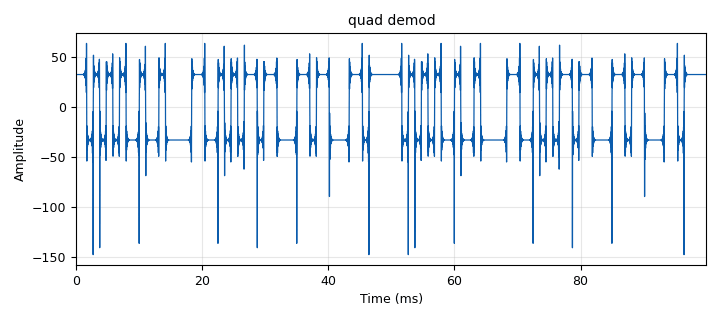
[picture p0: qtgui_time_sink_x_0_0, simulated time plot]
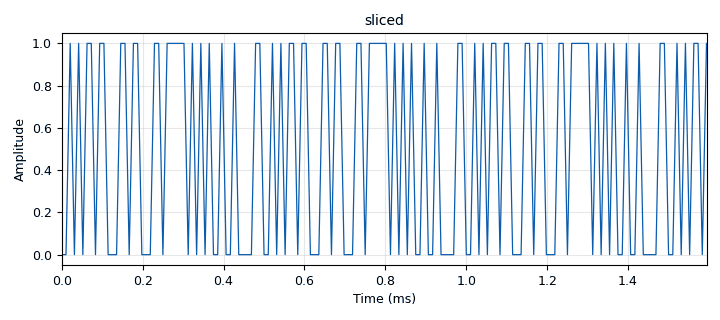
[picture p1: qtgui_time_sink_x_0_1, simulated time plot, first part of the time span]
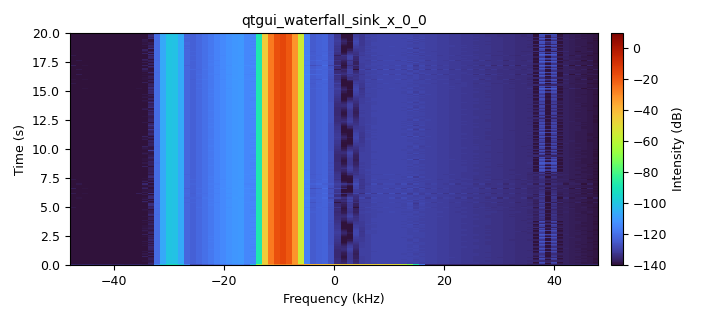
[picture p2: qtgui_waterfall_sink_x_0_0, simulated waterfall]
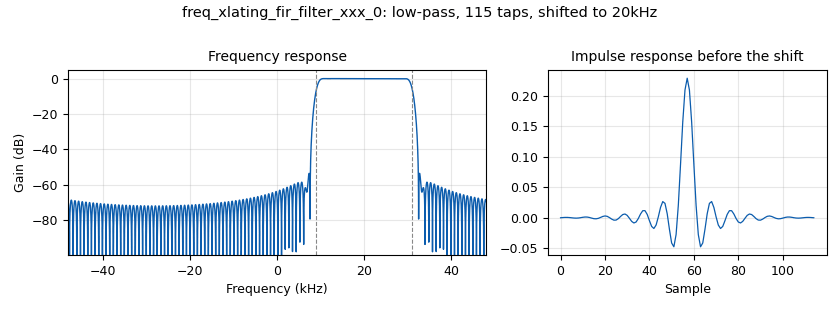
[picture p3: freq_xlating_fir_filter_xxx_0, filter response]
<?xml version='1.0' encoding='utf-8'?>
<?grc format='1' created='3.7.9'?>
<flow_graph>
<block>
<key>options</key>
<param><key>id</key><value>top_block</value></param>
<param><key>generate_options</key><value>qt_gui</value></param>
</block>
<block>
<key>variable_function_probe</key>
<param><key>id</key><value>doppler</value></param>
<param><key>block_id</key><value>probe_triangle</value></param>
<param><key>function_name</key><value>level</value></param>
<param><key>poll_rate</key><value>samp_rate</value></param>
<param><key>value</key><value>0</value></param>
</block>
<block>
<key>variable</key>
<param><key>id</key><value>freq</value></param>
<param><key>value</key><value>915e6</value></param>
</block>
<block>
<key>variable</key>
<param><key>id</key><value>samp_per_sym</value></param>
<param><key>value</key><value>100</value></param>
</block>
<block>
<key>variable</key>
<param><key>id</key><value>samp_rate</value></param>
<param><key>value</key><value>96e3</value></param>
</block>
<block>
<key>variable</key>
<param><key>id</key><value>samp_rate_tx</value></param>
<param><key>value</key><value>2e6</value></param>
</block>
<block>
<key>analog_const_source_x</key>
<param><key>id</key><value>analog_const_source_x_0</value></param>
<param><key>const</key><value>1</value></param>
<param><key>type</key><value>float</value></param>
</block>
<block>
<key>analog_const_source_x</key>
<param><key>id</key><value>analog_const_source_x_1</value></param>
<param><key>const</key><value>1</value></param>
<param><key>_enabled</key><value>0</value></param>
<param><key>type</key><value>complex</value></param>
</block>
<block>
<key>analog_quadrature_demod_cf</key>
<param><key>id</key><value>analog_quadrature_demod_cf_0</value></param>
<param><key>gain</key><value>-50</value></param>
</block>
<block>
<key>analog_sig_source_x</key>
<param><key>id</key><value>analog_sig_source_x_0</value></param>
<param><key>amp</key><value>1</value></param>
<param><key>freq</key><value>10e3</value></param>
<param><key>offset</key><value>0</value></param>
<param><key>type</key><value>float</value></param>
<param><key>samp_rate</key><value>samp_rate</value></param>
<param><key>waveform</key><value>analog.GR_COS_WAVE</value></param>
</block>
<block>
<key>analog_sig_source_x</key>
<param><key>id</key><value>analog_sig_source_x_0_0</value></param>
<param><key>amp</key><value>2</value></param>
<param><key>freq</key><value>0.016</value></param>
<param><key>offset</key><value>-1</value></param>
<param><key>type</key><value>float</value></param>
<param><key>samp_rate</key><value>samp_rate</value></param>
<param><key>waveform</key><value>analog.GR_TRI_WAVE</value></param>
</block>
<block>
<key>analog_sig_source_x</key>
<param><key>id</key><value>analog_sig_source_x_1</value></param>
<param><key>amp</key><value>1</value></param>
<param><key>freq</key><value>30e3</value></param>
<param><key>offset</key><value>0</value></param>
<param><key>type</key><value>float</value></param>
<param><key>samp_rate</key><value>samp_rate</value></param>
<param><key>waveform</key><value>analog.GR_COS_WAVE</value></param>
</block>
<block>
<key>analog_sig_source_x</key>
<param><key>id</key><value>analog_sig_source_x_1_0</value></param>
<param><key>amp</key><value>1</value></param>
<param><key>_enabled</key><value>0</value></param>
<param><key>freq</key><value>10000*doppler</value></param>
<param><key>offset</key><value>0</value></param>
<param><key>type</key><value>complex</value></param>
<param><key>samp_rate</key><value>samp_rate</value></param>
<param><key>waveform</key><value>analog.GR_COS_WAVE</value></param>
</block>
<block>
<key>blocks_add_xx</key>
<param><key>id</key><value>blocks_add_xx_0</value></param>
<param><key>type</key><value>float</value></param>
</block>
<block>
<key>blocks_char_to_float</key>
<param><key>id</key><value>blocks_char_to_float_0</value></param>
<param><key>scale</key><value>1</value></param>
</block>
<block>
<key>blocks_char_to_float</key>
<param><key>id</key><value>blocks_char_to_float_1</value></param>
<param><key>scale</key><value>1</value></param>
</block>
<block>
<key>blocks_file_sink</key>
<param><key>id</key><value>blocks_file_sink_0</value></param>
<param><key>file</key><value>/home/sdrgroup/src/gr-transceive/transmit_test.bin</value></param>
<param><key>type</key><value>byte</value></param>
</block>
<block>
<key>blocks_multiply_const_vxx</key>
<param><key>id</key><value>blocks_multiply_const_vxx_0</value></param>
<param><key>const</key><value>0.8</value></param>
<param><key>_enabled</key><value>0</value></param>
<param><key>type</key><value>complex</value></param>
</block>
<block>
<key>blocks_multiply_xx</key>
<param><key>id</key><value>blocks_multiply_xx_0</value></param>
<param><key>type</key><value>float</value></param>
</block>
<block>
<key>blocks_multiply_xx</key>
<param><key>id</key><value>blocks_multiply_xx_0_0</value></param>
<param><key>type</key><value>float</value></param>
</block>
<block>
<key>blocks_multiply_xx</key>
<param><key>id</key><value>blocks_multiply_xx_0_1</value></param>
<param><key>_enabled</key><value>0</value></param>
<param><key>type</key><value>complex</value></param>
</block>
<block>
<key>blocks_pack_k_bits_bb</key>
<param><key>id</key><value>blocks_pack_k_bits_bb_0</value></param>
<param><key>k</key><value>8</value></param>
</block>
<block>
<key>blocks_repeat</key>
<param><key>id</key><value>blocks_repeat_0</value></param>
<param><key>interp</key><value>100</value></param>
<param><key>type</key><value>byte</value></param>
</block>
<block>
<key>blocks_sub_xx</key>
<param><key>id</key><value>blocks_sub_xx_0</value></param>
<param><key>type</key><value>float</value></param>
</block>
<block>
<key>blocks_throttle</key>
<param><key>id</key><value>blocks_throttle_0</value></param>
<param><key>samples_per_second</key><value>samp_rate</value></param>
<param><key>type</key><value>float</value></param>
</block>
<block>
<key>blocks_throttle</key>
<param><key>id</key><value>blocks_throttle_0_0</value></param>
<param><key>samples_per_second</key><value>samp_rate</value></param>
<param><key>type</key><value>float</value></param>
</block>
<block>
<key>blocks_throttle</key>
<param><key>id</key><value>blocks_throttle_0_0_0_0</value></param>
<param><key>_enabled</key><value>0</value></param>
<param><key>samples_per_second</key><value>samp_rate</value></param>
<param><key>type</key><value>complex</value></param>
</block>
<block>
<key>blocks_udp_sink</key>
<param><key>id</key><value>blocks_udp_sink_0</value></param>
<param><key>ipaddr</key><value>192.168.1.128</value></param>
<param><key>port</key><value>1234</value></param>
<param><key>type</key><value>float</value></param>
<param><key>psize</key><value>1472</value></param>
<param><key>eof</key><value>True</value></param>
<param><key>vlen</key><value>1</value></param>
</block>
<block>
<key>blocks_vector_source_x</key>
<param><key>id</key><value>blocks_vector_source_x_0</value></param>
<param><key>type</key><value>byte</value></param>
<param><key>repeat</key><value>True</value></param>
<param><key>vector</key><value>[1,0,1,0,1,0,1,0,0,1,0,0,1,0,0,0,0,1,1,0,0,1,0,1,0,1,1,0,1,1,0,0,0,1,1,0,1,1,0,0,0,1,1,0,1,1,1,1]</value></param>
</block>
<block>
<key>digital_binary_slicer_fb</key>
<param><key>id</key><value>digital_binary_slicer_fb_0</value></param>
</block>
<block>
<key>digital_clock_recovery_mm_xx</key>
<param><key>id</key><value>digital_clock_recovery_mm_xx_0</value></param>
<param><key>gain_mu</key><value>0.175</value></param>
<param><key>gain_omega</key><value>0.25*0.175*0.175</value></param>
<param><key>mu</key><value>0.5</value></param>
<param><key>omega_relative_limit</key><value>0.005</value></param>
<param><key>omega</key><value>samp_per_sym*(1+0.0)</value></param>
<param><key>type</key><value>float</value></param>
</block>
<block>
<key>freq_xlating_fir_filter_xxx</key>
<param><key>id</key><value>freq_xlating_fir_filter_xxx_0</value></param>
<param><key>center_freq</key><value>20e3</value></param>
<param><key>decim</key><value>1</value></param>
<param><key>samp_rate</key><value>samp_rate</value></param>
<param><key>taps</key><value>firdes.low_pass(1.0,samp_rate,11000,2000)</value></param>
<param><key>type</key><value>fcc</value></param>
</block>
<block>
<key>osmosdr_sink</key>
<param><key>id</key><value>osmosdr_sink_0</value></param>
<param><key>bb_gain0</key><value>20</value></param>
<param><key>freq0</key><value>freq</value></param>
<param><key>if_gain0</key><value>20</value></param>
<param><key>gain0</key><value>10</value></param>
<param><key>args</key><value></value></param>
<param><key>_enabled</key><value>0</value></param>
<param><key>type</key><value>fc32</value></param>
<param><key>sample_rate</key><value>samp_rate_tx</value></param>
<param><key>sync</key><value></value></param>
</block>
<block>
<key>blocks_probe_signal_x</key>
<param><key>id</key><value>probe_triangle</value></param>
<param><key>type</key><value>float</value></param>
</block>
<block>
<key>qtgui_time_sink_x</key>
<param><key>id</key><value>qtgui_time_sink_x_0</value></param>
<param><key>autoscale</key><value>True</value></param>
<param><key>_enabled</key><value>0</value></param>
<param><key>grid</key><value>True</value></param>
<param><key>color1</key><value>"blue"</value></param>
<param><key>label1</key><value></value></param>
<param><key>name</key><value>"input"</value></param>
<param><key>size</key><value>1024</value></param>
<param><key>srate</key><value>samp_rate</value></param>
<param><key>type</key><value>float</value></param>
</block>
<block>
<key>qtgui_time_sink_x</key>
<param><key>id</key><value>qtgui_time_sink_x_0_0</value></param>
<param><key>autoscale</key><value>True</value></param>
<param><key>grid</key><value>True</value></param>
<param><key>color1</key><value>"blue"</value></param>
<param><key>label1</key><value></value></param>
<param><key>name</key><value>"quad demod"</value></param>
<param><key>size</key><value>int(samp_rate/10)</value></param>
<param><key>srate</key><value>samp_rate</value></param>
<param><key>type</key><value>float</value></param>
</block>
<block>
<key>qtgui_time_sink_x</key>
<param><key>id</key><value>qtgui_time_sink_x_0_1</value></param>
<param><key>autoscale</key><value>True</value></param>
<param><key>grid</key><value>True</value></param>
<param><key>color1</key><value>"blue"</value></param>
<param><key>label1</key><value></value></param>
<param><key>name</key><value>"sliced"</value></param>
<param><key>size</key><value>1024</value></param>
<param><key>srate</key><value>samp_rate</value></param>
<param><key>type</key><value>float</value></param>
</block>
<block>
<key>qtgui_waterfall_sink_x</key>
<param><key>id</key><value>qtgui_waterfall_sink_x_0</value></param>
<param><key>bw</key><value>samp_rate</value></param>
<param><key>fc</key><value>0</value></param>
<param><key>_enabled</key><value>0</value></param>
<param><key>fftsize</key><value>88</value></param>
<param><key>showports</key><value>True</value></param>
<param><key>type</key><value>complex</value></param>
<param><key>update_time</key><value>0.1</value></param>
<param><key>wintype</key><value>firdes.WIN_BLACKMAN_hARRIS</value></param>
</block>
<block>
<key>qtgui_waterfall_sink_x</key>
<param><key>id</key><value>qtgui_waterfall_sink_x_0_0</value></param>
<param><key>bw</key><value>samp_rate</value></param>
<param><key>fc</key><value>0</value></param>
<param><key>fftsize</key><value>88</value></param>
<param><key>grid</key><value>True</value></param>
<param><key>color1</key><value>5</value></param>
<param><key>showports</key><value>True</value></param>
<param><key>type</key><value>complex</value></param>
<param><key>update_time</key><value>0.1</value></param>
<param><key>wintype</key><value>firdes.WIN_BLACKMAN_hARRIS</value></param>
</block>
<block>
<key>rational_resampler_xxx</key>
<param><key>id</key><value>rational_resampler_xxx_0</value></param>
<param><key>decim</key><value>int(samp_rate)</value></param>
<param><key>_enabled</key><value>0</value></param>
<param><key>interp</key><value>int(samp_rate_tx)</value></param>
<param><key>taps</key><value></value></param>
<param><key>type</key><value>ccc</value></param>
</block>
<connection><source_block_id>analog_const_source_x_0</source_block_id><sink_block_id>blocks_sub_xx_0</sink_block_id><source_key>0</source_key><sink_key>0</sink_key></connection>
<connection><source_block_id>analog_const_source_x_1</source_block_id><sink_block_id>blocks_throttle_0_0_0_0</sink_block_id><source_key>0</source_key><sink_key>0</sink_key></connection>
<connection><source_block_id>analog_quadrature_demod_cf_0</source_block_id><sink_block_id>digital_clock_recovery_mm_xx_0</sink_block_id><source_key>0</source_key><sink_key>0</sink_key></connection>
<connection><source_block_id>analog_quadrature_demod_cf_0</source_block_id><sink_block_id>qtgui_time_sink_x_0_0</sink_block_id><source_key>0</source_key><sink_key>0</sink_key></connection>
<connection><source_block_id>analog_sig_source_x_0</source_block_id><sink_block_id>blocks_multiply_xx_0</sink_block_id><source_key>0</source_key><sink_key>0</sink_key></connection>
<connection><source_block_id>analog_sig_source_x_0_0</source_block_id><sink_block_id>blocks_throttle_0_0</sink_block_id><source_key>0</source_key><sink_key>0</sink_key></connection>
<connection><source_block_id>analog_sig_source_x_1</source_block_id><sink_block_id>blocks_multiply_xx_0_0</sink_block_id><source_key>0</source_key><sink_key>0</sink_key></connection>
<connection><source_block_id>analog_sig_source_x_1_0</source_block_id><sink_block_id>blocks_throttle_0_0_0_0</sink_block_id><source_key>0</source_key><sink_key>0</sink_key></connection>
<connection><source_block_id>blocks_add_xx_0</source_block_id><sink_block_id>blocks_throttle_0</sink_block_id><source_key>0</source_key><sink_key>0</sink_key></connection>
<connection><source_block_id>blocks_char_to_float_0</source_block_id><sink_block_id>blocks_multiply_xx_0</sink_block_id><source_key>0</source_key><sink_key>1</sink_key></connection>
<connection><source_block_id>blocks_char_to_float_0</source_block_id><sink_block_id>blocks_sub_xx_0</sink_block_id><source_key>0</source_key><sink_key>1</sink_key></connection>
<connection><source_block_id>blocks_char_to_float_0</source_block_id><sink_block_id>qtgui_time_sink_x_0</sink_block_id><source_key>0</source_key><sink_key>0</sink_key></connection>
<connection><source_block_id>blocks_char_to_float_1</source_block_id><sink_block_id>qtgui_time_sink_x_0_1</sink_block_id><source_key>0</source_key><sink_key>0</sink_key></connection>
<connection><source_block_id>blocks_multiply_const_vxx_0</source_block_id><sink_block_id>rational_resampler_xxx_0</sink_block_id><source_key>0</source_key><sink_key>0</sink_key></connection>
<connection><source_block_id>blocks_multiply_xx_0</source_block_id><sink_block_id>blocks_add_xx_0</sink_block_id><source_key>0</source_key><sink_key>0</sink_key></connection>
<connection><source_block_id>blocks_multiply_xx_0_0</source_block_id><sink_block_id>blocks_add_xx_0</sink_block_id><source_key>0</source_key><sink_key>1</sink_key></connection>
<connection><source_block_id>blocks_multiply_xx_0_1</source_block_id><sink_block_id>blocks_multiply_const_vxx_0</sink_block_id><source_key>0</source_key><sink_key>0</sink_key></connection>
<connection><source_block_id>blocks_multiply_xx_0_1</source_block_id><sink_block_id>qtgui_waterfall_sink_x_0</sink_block_id><source_key>0</source_key><sink_key>0</sink_key></connection>
<connection><source_block_id>blocks_pack_k_bits_bb_0</source_block_id><sink_block_id>blocks_file_sink_0</sink_block_id><source_key>0</source_key><sink_key>0</sink_key></connection>
<connection><source_block_id>blocks_repeat_0</source_block_id><sink_block_id>blocks_char_to_float_0</sink_block_id><source_key>0</source_key><sink_key>0</sink_key></connection>
<connection><source_block_id>blocks_sub_xx_0</source_block_id><sink_block_id>blocks_multiply_xx_0_0</sink_block_id><source_key>0</source_key><sink_key>1</sink_key></connection>
<connection><source_block_id>blocks_throttle_0</source_block_id><sink_block_id>freq_xlating_fir_filter_xxx_0</sink_block_id><source_key>0</source_key><sink_key>0</sink_key></connection>
<connection><source_block_id>blocks_throttle_0_0</source_block_id><sink_block_id>blocks_udp_sink_0</sink_block_id><source_key>0</source_key><sink_key>0</sink_key></connection>
<connection><source_block_id>blocks_throttle_0_0</source_block_id><sink_block_id>probe_triangle</sink_block_id><source_key>0</source_key><sink_key>0</sink_key></connection>
<connection><source_block_id>blocks_throttle_0_0_0_0</source_block_id><sink_block_id>blocks_multiply_xx_0_1</sink_block_id><source_key>0</source_key><sink_key>0</sink_key></connection>
<connection><source_block_id>blocks_vector_source_x_0</source_block_id><sink_block_id>blocks_repeat_0</sink_block_id><source_key>0</source_key><sink_key>0</sink_key></connection>
<connection><source_block_id>digital_binary_slicer_fb_0</source_block_id><sink_block_id>blocks_char_to_float_1</sink_block_id><source_key>0</source_key><sink_key>0</sink_key></connection>
<connection><source_block_id>digital_binary_slicer_fb_0</source_block_id><sink_block_id>blocks_pack_k_bits_bb_0</sink_block_id><source_key>0</source_key><sink_key>0</sink_key></connection>
<connection><source_block_id>digital_clock_recovery_mm_xx_0</source_block_id><sink_block_id>digital_binary_slicer_fb_0</sink_block_id><source_key>0</source_key><sink_key>0</sink_key></connection>
<connection><source_block_id>freq_xlating_fir_filter_xxx_0</source_block_id><sink_block_id>analog_quadrature_demod_cf_0</sink_block_id><source_key>0</source_key><sink_key>0</sink_key></connection>
<connection><source_block_id>freq_xlating_fir_filter_xxx_0</source_block_id><sink_block_id>blocks_multiply_xx_0_1</sink_block_id><source_key>0</source_key><sink_key>1</sink_key></connection>
<connection><source_block_id>freq_xlating_fir_filter_xxx_0</source_block_id><sink_block_id>qtgui_waterfall_sink_x_0_0</sink_block_id><source_key>0</source_key><sink_key>0</sink_key></connection>
<connection><source_block_id>rational_resampler_xxx_0</source_block_id><sink_block_id>osmosdr_sink_0</sink_block_id><source_key>0</source_key><sink_key>0</sink_key></connection>
</flow_graph>
